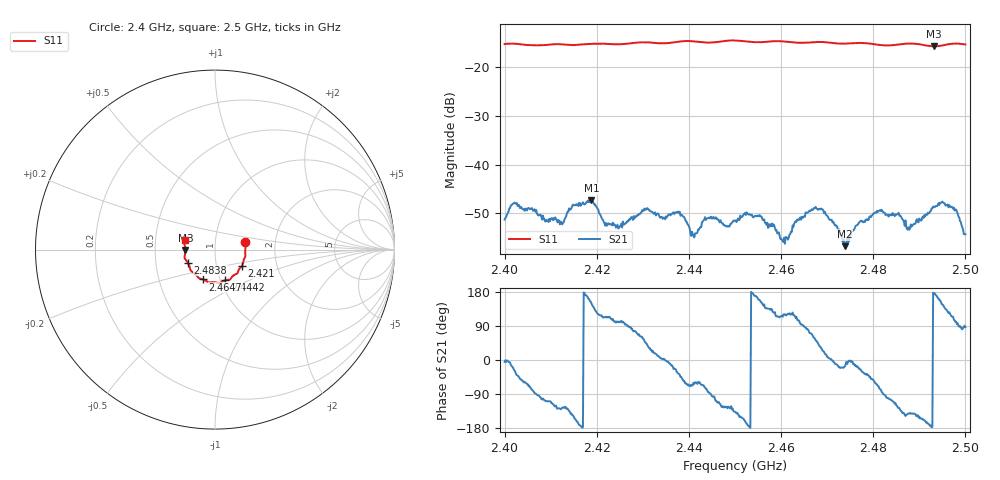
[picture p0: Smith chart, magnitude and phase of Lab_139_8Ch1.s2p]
# Hz S RI R 50
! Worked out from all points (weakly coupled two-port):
!   601 points, 2.4 GHz to 2.5 GHz, reference 50 ohm
!   highest |S21| = -47.26 dB at 2.4188 GHz (marker M1); lowest = -56.7 dB at 2.4738 GHz (marker M2)
!   lowest |S11| = -15.7 dB at 2.4932 GHz (marker M3), VSWR 1.39, Z = 35.8 - j0.111 ohm
!   |S11| at or under -10 dB: start of sweep to end of sweep
!   S12 and S22 are empty: the file has one direction only
!   S11 on the Smith chart (normalised r, x): 2.4 GHz: 1.40, +0.12; 2.421 GHz: 1.33, -0.24; 2.4442 GHz: 1.05, -0.37; 2.4647 GHz: 0.83, -0.28; 2.4838 GHz: 0.73, -0.11; 2.5 GHz: 0.71, +0.08
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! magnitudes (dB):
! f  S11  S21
! 2.4 GHz  -15.2  -51.3
! 2.4022 GHz  -15.1  -47.7
! 2.4123 GHz  -15.2  -51.7
! 2.4167 GHz  -15.3  -48.1
! 2.4188 GHz  -15.2  -47.3
! 2.421 GHz  -15.1  -50.8
! 2.4333 GHz  -15.0  -50.0
! 2.438 GHz  -14.7  -49.6
! 2.4408 GHz  -14.6  -54.2
! 2.4442 GHz  -14.9  -51.0
! 2.45 GHz  -14.5  -51.4
! 2.4553 GHz  -14.8  -50.3
! 2.4603 GHz  -14.6  -55.5
! 2.4647 GHz  -14.9  -50.9
! 2.4667 GHz  -14.8  -49.1
! 2.4738 GHz  -15.1  -56.7
! 2.4833 GHz  -15.5  -50.6
! 2.4838 GHz  -15.5  -50.3
! 2.4878 GHz  -15.1  -53.3
! 2.4932 GHz  -15.7  -48.6
! 2.4975 GHz  -15.1  -48.8
! 2.5 GHz  -15.3  -54.3
